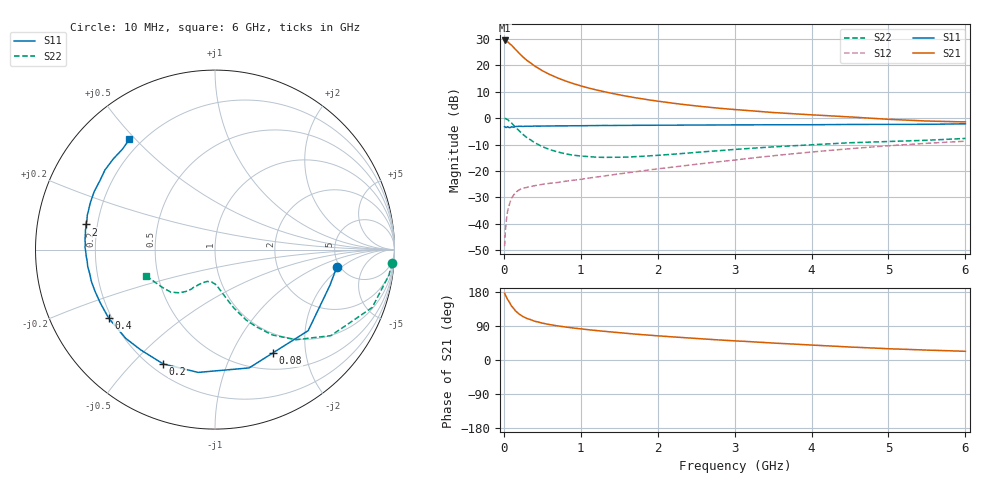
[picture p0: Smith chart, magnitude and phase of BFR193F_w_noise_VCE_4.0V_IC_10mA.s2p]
! Infineon Technologies  Discrete & RF Semiconductors
! BFR193F
! VCE =  4.0 V,  IC =  10 mA
! Common Emitter S-Parameters:  Jan 2017
# GHz  S  MA  R  50
!  f  S11  S21  S12  S22
! GHz  MAG  ANG  MAG  ANG  MAG  ANG  MAG  ANG
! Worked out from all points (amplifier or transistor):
!   77 points, 10 MHz to 6 GHz, reference 50 ohm
!   highest |S21| = 29.3 dB at 10 MHz (marker M1)
!   |S21| within 3 dB of that: start of sweep to 139 MHz
!   unconditionally stable (mu >= 1): 1.553 GHz to 2.89 GHz
!   at 130 MHz: K = 0.18, MSG = 27.8 dB, |S12| = -29.0 dB
!   at 2.2 GHz: K = 1.05, MAG = 10.7 dB, |S12| = -18.5 dB
!   at 6 GHz: K = 0.81, MSG = 3.6 dB, |S12| = -8.8 dB
!   lowest NFmin = 0.87 dB at 450 MHz
!   S11 on the Smith chart (normalised r, x): 10 MHz: 4.71, -1.72; 80 MHz: 0.71, -1.46; 200 MHz: 0.25, -0.62; 400 MHz: 0.19, -0.28; 2 GHz: 0.16, +0.09; 6 GHz: 0.15, +0.48
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0.01  0.6855 -8.1  29.19 176.1  0.0038 87.5  0.9877 -4.3
0.02  0.6705 -17.3  28.67 171.4  0.0074 85.4  0.9799 -8.3
0.05  0.6881 -41.0  27.57 159.4  0.0178 71.8  0.9334 -20.2
0.08  0.6599 -60.8  25.04 149.7  0.0254 62.8  0.8472 -29.5
0.1  0.6861 -73.9  23.83 142.2  0.0307 59.4  0.804 -36.6
0.15  0.6906 -97.8  19.89 130.0  0.0388 50.1  0.6747 -48.1
0.2  0.6993 -114.4  16.72 121.0  0.0442 44.6  0.5729 -56.1
0.25  0.6953 -126.5  14.17 114.5  0.0471 41.4  0.488 -61.8
0.3  0.7014 -135.2  12.29 109.6  0.049 39.5  0.4281 -66.2
0.4  0.7048 -147.3  9.604 102.3  0.0527 38.4  0.342 -72.1
0.5  0.7049 -155.2  7.835 97.3  0.056 38.5  0.2883 -76.1
0.6  0.7078 -161.0  6.613 93.3  0.0586 39.8  0.2523 -79.6
0.7  0.7113 -165.6  5.715 90.0  0.0606 42.2  0.229 -82.4
0.9  0.7153 -172.3  4.487 84.5  0.0668 46.1  0.199 -87.7
1.1  0.7183 -177.1  3.695 79.9  0.0733 49.8  0.1872 -92.6
1.5  0.7258 175.9  2.745 72.1  0.0882 56.4  0.1819 -101.7
2  0.7331 169.0  2.085 63.8  0.1096 62.2  0.1974 -110.7
2.1  0.7325 168.0  1.994 62.4  0.114 63.1  0.2024 -111.9
3.1  0.7428 158.1  1.411 49.5  0.1672 68.5  0.261 -121.6
4.1  0.7488 148.1  1.129 38.4  0.2349 68.5  0.318 -131.0
5.1  0.759 137.2  0.932 29.0  0.3056 64.3  0.3642 -145.7
6  0.7776 127.8  0.845 23.0  0.365 59.0  0.4119 -159.4
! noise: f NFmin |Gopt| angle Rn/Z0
0.45  0.87  0.25  139  0.07
0.9  1  0.38  152  0.07
1.9  1.7  0.59  -176  0.06
2.4  2.05  0.63  -165  0.08
